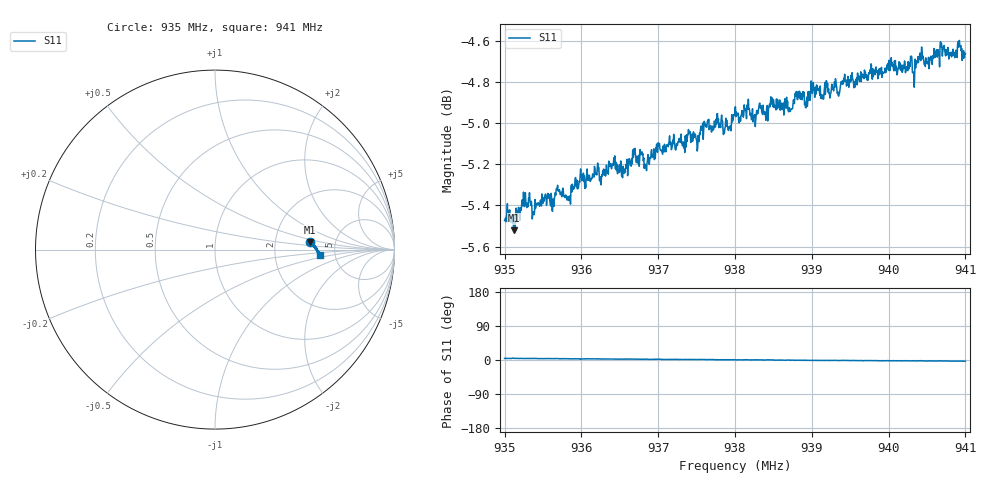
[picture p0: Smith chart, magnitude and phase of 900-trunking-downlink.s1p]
! Calibrated averaged scanner-service zoom
# Hz S RI R 50
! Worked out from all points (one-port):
!   1001 points, 935 MHz to 941 MHz, reference 50 ohm
!   lowest |S11| = -5.5 dB at 935.12 MHz (marker M1), VSWR 3.25, Z = 160 + j18.1 ohm
!   |S11| at or under -10 dB: nowhere
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9.35e8  0.531 0.0398
9.3512e8  0.5281 0.0406
9.35252e8  0.5357 0.0366
9.35384e8  0.5327 0.0404
9.3575e8  0.5395 0.0323
9.35936e8  0.542 0.0284
9.36002e8  0.5457 0.0261
9.36086e8  0.5444 0.0301
9.365e8  0.5469 0.0207
9.36602e8  0.5456 0.0212
9.36908e8  0.553 0.017
9.36992e8  0.5529 0.0196
9.37076e8  0.5532 0.013
9.3725e8  0.5551 0.0153
9.3752e8  0.5583 0.0125
9.37628e8  0.5609 0.00939
9.37922e8  0.5612 0.00722
9.38e8  0.5671 0.00676
9.38456e8  0.5675 0.00341
9.3854e8  0.57 -0.00441
9.3875e8  0.5669 -0.00586
9.3881e8  0.5698 -0.00857
9.38936e8  0.5705 -0.00864
9.39002e8  0.5723 -0.00744
9.395e8  0.5761 -0.0146
9.4025e8  0.5787 -0.0208
9.407e8  0.5832 -0.0279
9.41e8  0.5838 -0.0305
